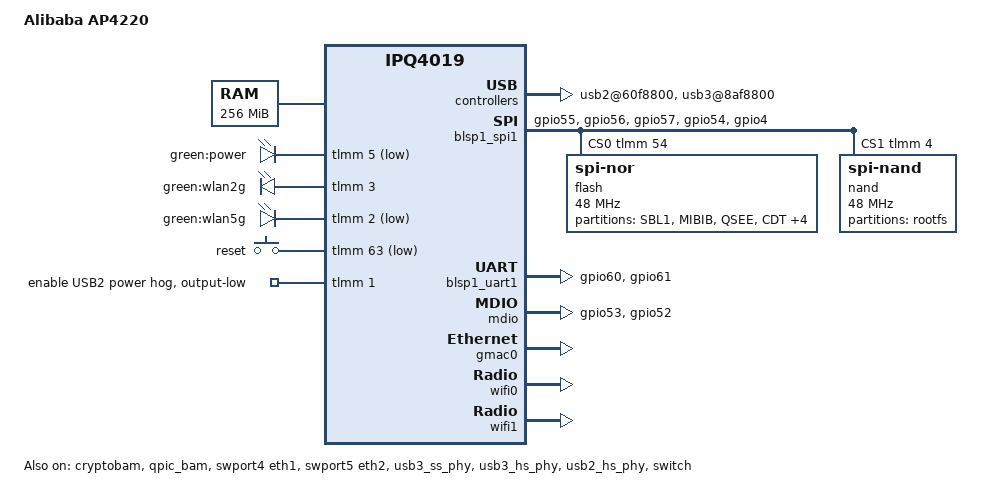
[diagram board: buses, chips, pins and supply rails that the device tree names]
// SPDX-License-Identifier: GPL-2.0-or-later OR MIT

#include "qcom-ipq4019.dtsi"
#include <dt-bindings/gpio/gpio.h>
#include <dt-bindings/input/input.h>
#include <dt-bindings/soc/qcom,tcsr.h>

/ {
	model = "Alibaba AP4220";
	compatible = "alibaba,ap4220";

	memory {
		device_type = "memory";
		reg = <0x80000000 0x10000000>; 
	};

	aliases {
		led-boot = &led_power;
		led-failsafe = &led_power;
		led-running = &led_power;
		led-upgrade = &led_power;
	};

	chosen {
		bootargs-append = " root=/dev/ubiblock0_1 rootfstype=squashfs clk_ignore_unused";
	};

	soc {
		rng@22000 {
			status = "okay";
		};

		ess-psgmii@98000 {
			status = "okay";
		};

		tcsr@1949000 {
			compatible = "qcom,tcsr";
			reg = <0x1949000 0x100>;
			qcom,wifi_glb_cfg = <TCSR_WIFI_GLB_CFG>;
		};

		tcsr@194b000 {
			compatible = "qcom,tcsr";
			reg = <0x194b000 0x100>;
			qcom,usb-hsphy-mode-select = <TCSR_USB_HSPHY_HOST_MODE>;
		};

		ess_tcsr@1953000 {
			compatible = "qcom,tcsr";
			reg = <0x1953000 0x1000>;
			qcom,ess-interface-select = <TCSR_ESS_PSGMII>;
		};

		tcsr@1957000 {
			compatible = "qcom,tcsr";
			reg = <0x1957000 0x100>;
			qcom,wifi_noc_memtype_m0_m2 = <TCSR_WIFI_NOC_MEMTYPE_M0_M2>;
		};

		usb2@60f8800 {
			status = "okay";
		};

		usb3@8af8800 {
			status = "okay";
		};

		crypto@8e3a000 {
			status = "okay";
		};

		watchdog@b017000 {
			status = "okay";
		};

		ess-switch@c000000 {
			status = "okay";
		};

		edma@c080000 {
			status = "okay";
		};
	};

	leds {
		compatible = "gpio-leds";

		led_power: power {
			label = "green:power";
			gpios = <&tlmm 5 GPIO_ACTIVE_LOW>;
			default-state = "on";
		};

		wlan2g {
			label = "green:wlan2g";
			gpios = <&tlmm 3 GPIO_ACTIVE_HIGH>;
			linux,default-trigger = "phy0tpt";
		};

		wlan5g {
			label = "green:wlan5g";
			gpios = <&tlmm 2 GPIO_ACTIVE_LOW>;
			linux,default-trigger = "phy1tpt";
		};
	};

	keys {
		compatible = "gpio-keys";

		reset {
			label = "reset";
			gpios = <&tlmm 63 GPIO_ACTIVE_LOW>;
			linux,code = <KEY_RESTART>;
		};
	};
};

&blsp_dma {
	status = "okay";
};

&cryptobam {
	status = "okay";
};

&blsp1_spi1 {
	status = "okay";

	pinctrl-0 = <&spi0_pins>;
	pinctrl-names = "default";
	cs-gpios = <&tlmm 54 GPIO_ACTIVE_HIGH>, <&tlmm 4 GPIO_ACTIVE_HIGH>;

	flash@0 {
		reg = <0>;
		compatible = "jedec,spi-nor";
		spi-max-frequency = <48000000>;

		partitions {
			compatible = "fixed-partitions";
			#address-cells = <1>;
			#size-cells = <1>;

			partition@0 {
				label = "SBL1";
				reg = <0x0 0x40000>;
				read-only;
			};

			partition@40000 {
				label = "MIBIB";
				reg = <0x40000 0x20000>;
				read-only;
			};

			partition@60000 {
				label = "QSEE";
				reg = <0x60000 0x60000>;
				read-only;
			};

			partition@c0000 {
				label = "CDT";
				reg = <0xc0000 0x10000>;
				read-only;
			};

			partition@d0000 {
				label = "DDRPARAMS";
				reg = <0xd0000 0x10000>;
				read-only;
			};

			partition@e0000 {
				label = "APPSBLENV"; /* uboot env*/
				reg = <0xe0000 0x10000>;
				read-only;
			};

			partition@f0000 {
				label = "APPSBL"; /* uboot */
				reg = <0xf0000 0x80000>;
				read-only;
			};

			partition@170000 {
				label = "ART";
				reg = <0x170000 0x10000>;
				read-only;
				compatible = "nvmem-cells";
				#address-cells = <1>;
				#size-cells = <1>;

				precal_art_1000: precal@1000 {
					reg = <0x1000 0x2f20>;
				};

				precal_art_5000: precal@5000 {
					reg = <0x5000 0x2f20>;
				};
			};
		};
	};

	nand@0 {
		compatible = "spi-nand";
		reg = <1>;
		spi-max-frequency = <48000000>;

		partitions {
			compatible = "fixed-partitions";
			#address-cells = <1>;
			#size-cells = <1>;

			partition@0 {
				label = "rootfs";
				reg = <0x00000000 0x08000000>;
			};
		};
	};
};

&blsp1_uart1 {
	pinctrl-0 = <&serial0_pins>;
	pinctrl-names = "default";
	status = "okay";
};

&qpic_bam {
	status = "okay";
};


&mdio {
	status = "okay";
	pinctrl-0 = <&mdio_pins>;
	pinctrl-names = "default";
	phy-reset-gpio = <&tlmm 62 GPIO_ACTIVE_HIGH>;
};

&tlmm {
	mdio_pins: mdio_pinmux {
		mux_mdio {
			pins = "gpio53";
			function = "mdio";
			bias-pull-up;
		};

		mux_mdc {
			pins = "gpio52";
			function = "mdc";
			bias-pull-up;
		};
	};
	
	enable-usb-power {
		gpio-hog;
		gpios = <1 GPIO_ACTIVE_HIGH>;
		output-low;
		line-name = "enable USB2 power";
	};

	serial0_pins: serial0_pinmux {
		mux_uart {
			pins = "gpio60", "gpio61";
			function = "blsp_uart0";
			bias-disable;
		};
	};

	spi0_pins: spi0_pinmux {
		mux_spi {
			function = "blsp_spi0";
			pins = "gpio55", "gpio56", "gpio57";
			drive-strength = <12>;
			bias-disable;
		};

		mux_cs {
			function = "gpio";
			pins = "gpio54", "gpio4";
			drive-strength = <2>;
			bias-disable;
			output-high;
		};
	};

	i2c_0_pins: i2c_0_pinmux {
		mux {
			function = "blsp_i2c0";
			pins = "gpio58", "gpio59";
			bias-disable;
		};
	};

	reset_pinmux {
		mux {
			pins = "gpio63";
			bias-pull-up;
		};
	};
};

&swport4 {
	status = "okay";
	label = "eth1";
};

&swport5 {
	status = "okay";
	label = "eth2";
};

&usb3_ss_phy {
	status = "okay";
};

&usb3_hs_phy {
	status = "okay";
};

&usb2_hs_phy {
	status = "okay";
};

&gmac0 {
	status = "okay";
};

&switch {
	status = "okay";
};

&wifi0 {
	status = "okay";
	nvmem-cell-names = "pre-calibration";
	nvmem-cells = <&precal_art_1000>;
	qcom,ath10k-calibration-variant = "Alibaba-AP4220";
};

&wifi1 {
	status = "okay";
	nvmem-cell-names = "pre-calibration";
	nvmem-cells = <&precal_art_5000>;
	qcom,ath10k-calibration-variant = "Alibaba-AP4220";
};
